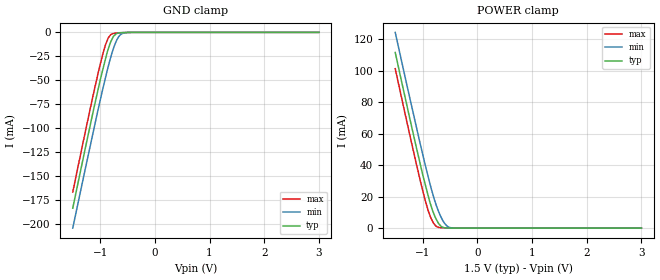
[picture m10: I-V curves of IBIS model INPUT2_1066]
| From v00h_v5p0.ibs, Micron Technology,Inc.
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| MODEL INPUT2_1066 (Add/Cmd/Ctrl Input Model, 800/1066Mbps)
[Model]   INPUT2_1066
Model_type   Input
Vinl = 575.000mV
Vinh = 925.000mV
|   typ   min   max
|C_comp   0.525pF   0.450pF   0.600pF
C_comp_power_clamp   0.2625pF   0.2250pF   0.3000pF
C_comp_gnd_clamp   0.2625pF   0.2250pF   0.3000pF
[Model Spec]
| Input threshold voltage corners
Vinl   0.5750V   0.5375V   0.6125V
Vinh   0.9250V   0.8875V   0.9625V
| Dynamic Overshoot Parameters from DDR3 Specification
D_overshoot_ampl_h   0.40   NA   NA
D_overshoot_ampl_l   0.40   NA   NA
D_overshoot_area_h   0.50n   NA   NA
D_overshoot_area_l   0.50n   NA   NA
[Receiver Thresholds]
Vth   =  0.750V
Vth_min  =  0.7350V
Vth_max  =  0.7650V
Vinh_ac  =  0.175V
Vinh_dc  =  0.100V
Vinl_ac  = -0.175V
Vinl_dc  = -0.100V
Tslew_ac =  5.000ns |Not specified, so set to high value
Threshold_sensitivity = 0.50
Reference_supply Power_clamp_ref
[Voltage Range]   1.5000V   1.4250V   1.5750V
[POWER Clamp Reference]   1.5000V   1.4250V   1.5750V
| Junction Temperature (Ambient temp is 35C typ, 95C min, 0C max)
[Temperature Range]   50.0   110.0   0.0
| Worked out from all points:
|   GND clamp passes 1 mA (typ) near -0.69 V on its own axis
|   POWER clamp passes 1 mA (typ) near -0.66 V on its own axis
[GND Clamp]
|   Voltage   I(typ)   I(min)   I(max)
-1.5V     -183.4mA   -204.2mA   -166.6mA
-1.105V   -76.94mA   -98.47mA   -59.81mA
-955mV    -39.88mA   -60mA      -23.51mA
-900mV    -27.4mA    -46.85mA   -12.67mA
-845mV    -16.27mA   -34.21mA   -5.241mA
-815mV    -11.01mA   -27.86mA   -3.084mA
-760mV    -4.503mA   -17.43mA   -1.18mA
-690mV    -1.098mA   -7.381mA   -661.2uA
-625mV    -323.6uA   -2.3mA     -424uA
-555mV    -144.5uA   -524.3uA   -230.7uA
-425mV    -28.44uA   -34.79uA   -43.06uA
3V        0A         0A         0A
[POWER Clamp]
|   Voltage   I(typ)   I(min)   I(max)
-1.5V     111.5mA    124.3mA    101.2mA
-1.105V   49.85mA    62.88mA    39.36mA
-955mV    28.19mA    40.57mA    17.98mA
-900mV    20.81mA    32.89mA    11.32mA
-805mV    10.01mA    20.54mA    3.4mA
-755mV    5.856mA    14.98mA    1.23mA
-710mV    3.027mA    10.74mA    505.6uA
-625mV    509.4uA    4.492mA    202.7uA
-555mV    109.4uA    1.392mA    109.6uA
-480mV    38.01uA    228.3uA    54.02uA
-365mV    8.792uA    12.78uA    15.98uA
3V        0A         0A         0A
